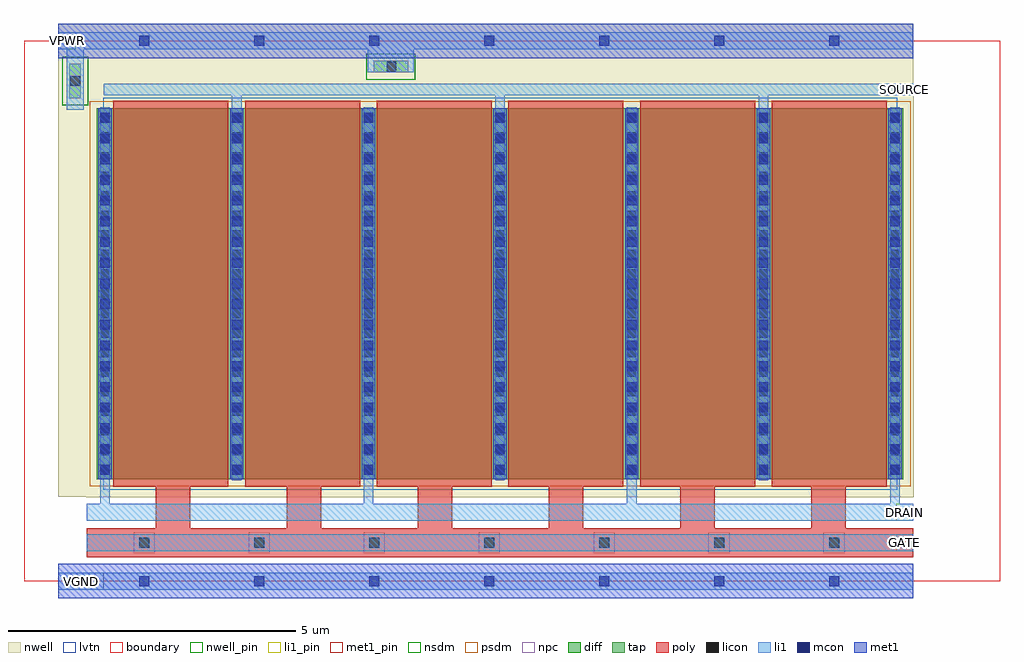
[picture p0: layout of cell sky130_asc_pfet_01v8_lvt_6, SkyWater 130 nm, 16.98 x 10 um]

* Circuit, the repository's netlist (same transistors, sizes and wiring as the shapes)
* NGSPICE file created from sky130_asc_pfet_01v8_lvt_6.ext - technology: sky130A

.subckt sky130_asc_pfet_01v8_lvt_6 GATE SOURCE DRAIN VGND VPWR
X0 SOURCE GATE DRAIN VPWR sky130_fd_pr__pfet_01v8_lvt ad=5.6115e+12p pd=4.044e+07u as=7.482e+12p ps=5.392e+07u w=6.45e+06u l=2e+06u
X1 SOURCE GATE DRAIN VPWR sky130_fd_pr__pfet_01v8_lvt ad=0p pd=0u as=0p ps=0u w=6.45e+06u l=2e+06u
X2 DRAIN GATE SOURCE VPWR sky130_fd_pr__pfet_01v8_lvt ad=0p pd=0u as=0p ps=0u w=6.45e+06u l=2e+06u
X3 SOURCE GATE DRAIN VPWR sky130_fd_pr__pfet_01v8_lvt ad=0p pd=0u as=0p ps=0u w=6.45e+06u l=2e+06u
X4 DRAIN GATE SOURCE VPWR sky130_fd_pr__pfet_01v8_lvt ad=0p pd=0u as=0p ps=0u w=6.45e+06u l=2e+06u
X5 DRAIN GATE SOURCE VPWR sky130_fd_pr__pfet_01v8_lvt ad=0p pd=0u as=0p ps=0u w=6.45e+06u l=2e+06u
.ends

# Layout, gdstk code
import gdstk
lib = gdstk.Library(unit=1e-6, precision=1e-09)
def R(c, l, rs):  # rectangles x0, y0, x1, y1
    for r in rs: c.add(gdstk.rectangle(r[:2], r[2:], *l))
def A(c, l, x, y, w, h, nx, ny, dx, dy):  # array of equal rectangles
    R(c, l, [(x+i*dx, y+j*dy, x+i*dx+w, y+j*dy+h) for i in range(nx) for j in range(ny)])
nwell_pin = (64, 16)
nwell = (64, 20)
diff = (65, 20)
tap = (65, 44)
poly = (66, 20)
licon = (66, 44)
li1_pin = (67, 16)
li1 = (67, 20)
mcon = (67, 44)
met1_pin = (68, 16)
met1 = (68, 20)
nsdm = (93, 44)
psdm = (94, 20)
npc = (95, 20)
lvtn = (125, 44)
boundary = (235, 4)

sky130_asc_pfet_01v8_lvt = lib.new_cell('sky130_asc_pfet_01v8_lvt_6')
R(sky130_asc_pfet_01v8_lvt, nwell_pin, [(0.6,9.25,0.9,9.55)])
R(sky130_asc_pfet_01v8_lvt, nwell, [(1.085,1.465,15.475,1.47), (0.6,1.47,15.475,8.535), (0.6,8.535,15.47,9.7)])
R(sky130_asc_pfet_01v8_lvt, diff, [(1.265,1.775,15.295,8.225)])
R(sky130_asc_pfet_01v8_lvt, tap, [(0.79,8.4,0.99,9), (6.08,8.85,6.68,9.05)])
A(sky130_asc_pfet_01v8_lvt, poly, 2.29, 0.92, 0.6, 0.725, 6, 1, 2.28, 0)
A(sky130_asc_pfet_01v8_lvt, poly, 1.555, 1.645, 2, 6.71, 6, 1, 2.29, 0)
R(sky130_asc_pfet_01v8_lvt, poly, [(1.09,0.42,15.47,0.92)])
A(sky130_asc_pfet_01v8_lvt, licon, 2.005, 0.585, 0.17, 0.17, 7, 1, 2, 0)
A(sky130_asc_pfet_01v8_lvt, licon, 1.325, 1.855, 0.17, 0.17, 7, 19, 2.29, 0.34)
R(sky130_asc_pfet_01v8_lvt, licon, [(0.805,8.615,0.975,8.785), (6.305,8.865,6.475,9.035)])
R(sky130_asc_pfet_01v8_lvt, li1_pin, [(15.17,0.52,15.47,0.82), (15.17,1.05,15.47,1.35), (15.17,8.45,15.47,8.65)])
A(sky130_asc_pfet_01v8_lvt, li1, 1.325, 1.35, 0.17, 6.895, 4, 1, 4.58, 0)
A(sky130_asc_pfet_01v8_lvt, li1, 3.615, 1.755, 0.17, 6.695, 3, 1, 4.58, 0)
R(sky130_asc_pfet_01v8_lvt, li1, [(0.6,-0.15,15.47,0.15), (1.09,0.52,15.47,0.82), (1.09,1.05,15.47,1.35), (0.74,8.2,1.04,9.25), (1.39,8.45,15.47,8.65), (5.98,8.85,6.78,9.25), (0.6,9.25,15.47,9.55)])
A(sky130_asc_pfet_01v8_lvt, mcon, 2.005, -0.085, 0.17, 0.17, 7, 2, 2, 9.4)
A(sky130_asc_pfet_01v8_lvt, mcon, 1.325, 1.855, 0.17, 0.17, 7, 18, 2.29, 0.36)
R(sky130_asc_pfet_01v8_lvt, met1_pin, [(0.6,-0.15,1.39,0.15)])
A(sky130_asc_pfet_01v8_lvt, met1, 1.295, 1.775, 0.23, 6.45, 7, 1, 2.29, 0)
R(sky130_asc_pfet_01v8_lvt, met1, [(0.6,-0.3,15.47,0.3), (0.6,9.1,15.47,9.7)])
R(sky130_asc_pfet_01v8_lvt, nsdm, [(0.665,8.275,1.115,9.125), (5.955,8.725,6.805,9.175)])
R(sky130_asc_pfet_01v8_lvt, psdm, [(1.14,1.65,15.42,8.35)])
A(sky130_asc_pfet_01v8_lvt, npc, 1.905, 0.485, 0.37, 0.37, 7, 1, 2, 0)
R(sky130_asc_pfet_01v8_lvt, lvtn, [(1.375,1.595,15.185,8.405)])
R(sky130_asc_pfet_01v8_lvt, boundary, [(0,0,16.975,9.4)])
sky130_asc_pfet_01v8_lvt.add(gdstk.Label('GATE', (15.32,0.67), layer=67, texttype=16))
sky130_asc_pfet_01v8_lvt.add(gdstk.Label('SOURCE', (15.32,8.55), layer=67, texttype=16))
sky130_asc_pfet_01v8_lvt.add(gdstk.Label('DRAIN', (15.32,1.2), layer=67, texttype=16))
sky130_asc_pfet_01v8_lvt.add(gdstk.Label('VPWR', (0.75,9.4), layer=64, texttype=16))
sky130_asc_pfet_01v8_lvt.add(gdstk.Label('VGND', (0.995,0), layer=68, texttype=16))

lib.write_gds('sky130_asc_pfet_01v8_lvt_6.gds')
